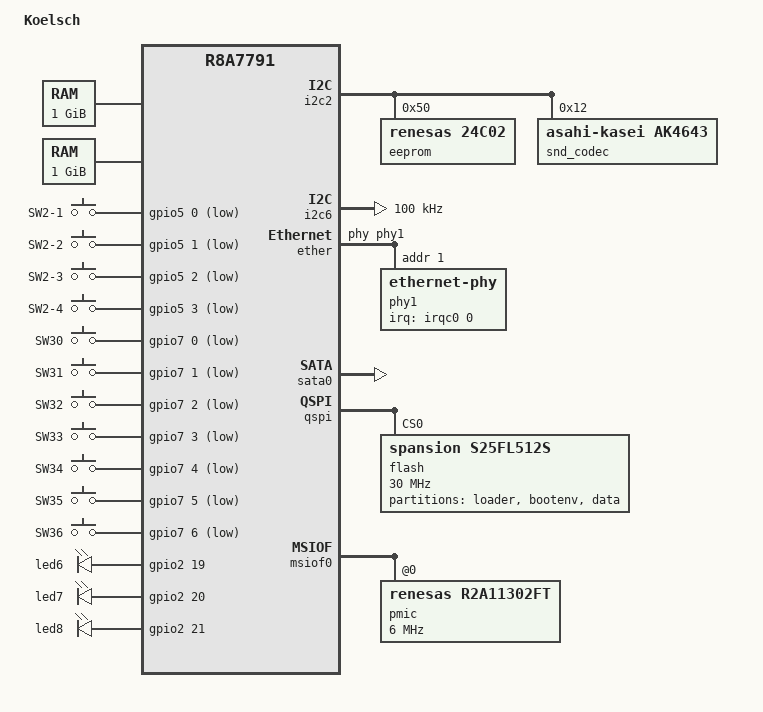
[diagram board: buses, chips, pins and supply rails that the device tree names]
/*
 * Device Tree Source for the Koelsch board
 *
 * Copyright (C) 2013 Renesas Electronics Corporation
 * Copyright (C) 2013-2014 Renesas Solutions Corp.
 * Copyright (C) 2014 Cogent Embedded, Inc.
 *
 * This file is licensed under the terms of the GNU General Public License
 * version 2.  This program is licensed "as is" without any warranty of any
 * kind, whether express or implied.
 */

/*
 * SSI-AK4643
 *
 * SW1: 1: AK4643
 *      2: CN22
 *      3: ADV7511
 *
 * this command is required when playback.
 *
 * # amixer set "LINEOUT Mixer DACL" on
 * # amixer set "Playback" 100
 */

/dts-v1/;
#include "r8a7791.dtsi"
#include <dt-bindings/gpio/gpio.h>
#include <dt-bindings/input/input.h>

/ {
	model = "Koelsch";
	compatible = "renesas,koelsch", "renesas,r8a7791";

	chosen {
		bootargs = "console=ttySC6,115200 ignore_loglevel rw root=/dev/nfs ip=dhcp";
	};

	memory@40000000 {
		device_type = "memory";
		reg = <0 0x40000000 0 0x40000000>;
	};

	memory@200000000 {
		device_type = "memory";
		reg = <2 0x00000000 0 0x40000000>;
	};

	lbsc {
		#address-cells = <1>;
		#size-cells = <1>;
	};

	gpio-keys {
		compatible = "gpio-keys";

		key-1 {
			gpios = <&gpio5 0 GPIO_ACTIVE_LOW>;
			linux,code = <KEY_1>;
			label = "SW2-1";
			gpio-key,wakeup;
			debounce-interval = <20>;
		};
		key-2 {
			gpios = <&gpio5 1 GPIO_ACTIVE_LOW>;
			linux,code = <KEY_2>;
			label = "SW2-2";
			gpio-key,wakeup;
			debounce-interval = <20>;
		};
		key-3 {
			gpios = <&gpio5 2 GPIO_ACTIVE_LOW>;
			linux,code = <KEY_3>;
			label = "SW2-3";
			gpio-key,wakeup;
			debounce-interval = <20>;
		};
		key-4 {
			gpios = <&gpio5 3 GPIO_ACTIVE_LOW>;
			linux,code = <KEY_4>;
			label = "SW2-4";
			gpio-key,wakeup;
			debounce-interval = <20>;
		};
		key-a {
			gpios = <&gpio7 0 GPIO_ACTIVE_LOW>;
			linux,code = <KEY_A>;
			label = "SW30";
			gpio-key,wakeup;
			debounce-interval = <20>;
		};
		key-b {
			gpios = <&gpio7 1 GPIO_ACTIVE_LOW>;
			linux,code = <KEY_B>;
			label = "SW31";
			gpio-key,wakeup;
			debounce-interval = <20>;
		};
		key-c {
			gpios = <&gpio7 2 GPIO_ACTIVE_LOW>;
			linux,code = <KEY_C>;
			label = "SW32";
			gpio-key,wakeup;
			debounce-interval = <20>;
		};
		key-d {
			gpios = <&gpio7 3 GPIO_ACTIVE_LOW>;
			linux,code = <KEY_D>;
			label = "SW33";
			gpio-key,wakeup;
			debounce-interval = <20>;
		};
		key-e {
			gpios = <&gpio7 4 GPIO_ACTIVE_LOW>;
			linux,code = <KEY_E>;
			label = "SW34";
			gpio-key,wakeup;
			debounce-interval = <20>;
		};
		key-f {
			gpios = <&gpio7 5 GPIO_ACTIVE_LOW>;
			linux,code = <KEY_F>;
			label = "SW35";
			gpio-key,wakeup;
			debounce-interval = <20>;
		};
		key-g {
			gpios = <&gpio7 6 GPIO_ACTIVE_LOW>;
			linux,code = <KEY_G>;
			label = "SW36";
			gpio-key,wakeup;
			debounce-interval = <20>;
		};
	};

	leds {
		compatible = "gpio-leds";
		led6 {
			gpios = <&gpio2 19 GPIO_ACTIVE_HIGH>;
		};
		led7 {
			gpios = <&gpio2 20 GPIO_ACTIVE_HIGH>;
		};
		led8 {
			gpios = <&gpio2 21 GPIO_ACTIVE_HIGH>;
		};
	};
};

&extal_clk {
	clock-frequency = <20000000>;
};

&i2c2 {
	pinctrl-0 = <&i2c2_pins>;
	pinctrl-names = "default";

	status = "okay";

	eeprom@50 {
		compatible = "renesas,24c02";
		reg = <0x50>;
		pagesize = <16>;
	};

	snd_codec: ak4643 {
		#sound-dai-cells = <0>;
		compatible = "asahi-kasei,ak4643";
		reg = <0x12>;
	};
};

&i2c6 {
	status = "okay";
	clock-frequency = <100000>;
};

&pfc {
	pinctrl-0 = <&du_pins &scif0_pins &scif1_pins &usb0_pins &usb1_pins
			&sound_pins
			&sound_clk_pins
			&sdhi0_pins &sdhi1_pins &sdhi2_pins>;
	pinctrl-names = "default";

	i2c2_pins: i2c2 {
		renesas,groups = "i2c2";
		renesas,function = "i2c2";
	};

	du_pins: du {
		renesas,groups = "du_rgb666", "du_sync", "du_clk_out_0";
		renesas,function = "du";
	};

	scif0_pins: serial0 {
		renesas,groups = "scif0_data_d";
		renesas,function = "scif0";
	};

	scif1_pins: serial1 {
		renesas,groups = "scif1_data_d";
		renesas,function = "scif1";
	};

	ether_pins: ether {
		renesas,groups = "eth_link", "eth_mdio", "eth_rmii";
		renesas,function = "eth";
	};

	phy1_pins: phy1 {
		renesas,groups = "intc_irq0";
		renesas,function = "intc";
	};

	sdhi0_pins: sd0 {
		renesas,groups = "sdhi0_data4", "sdhi0_ctrl";
		renesas,function = "sdhi0";
	};

	sdhi1_pins: sd1 {
		renesas,groups = "sdhi1_data4", "sdhi1_ctrl";
		renesas,function = "sdhi1";
	};

	sdhi2_pins: sd2 {
		renesas,groups = "sdhi2_data4", "sdhi2_ctrl";
		renesas,function = "sdhi2";
	};

	qspi_pins: spi0 {
		renesas,groups = "qspi_ctrl", "qspi_data4";
		renesas,function = "qspi";
	};

	msiof0_pins: spi1 {
		renesas,groups = "msiof0_clk", "msiof0_sync", "msiof0_rx",
				 "msiof0_tx";
		renesas,function = "msiof0";
	};

	usb0_pins: usb0 {
		renesas,groups = "usb0";
		renesas,function = "usb0";
	};

	usb1_pins: usb1 {
		renesas,groups = "usb1";
		renesas,function = "usb1";
	};

	sound_pins: sound {
		renesas,groups = "ssi0129_ctrl", "ssi0_data", "ssi1_data";
		renesas,function = "ssi";
	};
	sound_clk_pins: sound_clk {
		renesas,groups = "audio_clk_a";
		renesas,function = "audio_clk";
	};
};

&ether {
	pinctrl-0 = <&ether_pins &phy1_pins>;
	pinctrl-names = "default";

	phy-handle = <&phy1>;
	renesas,ether-link-active-low;
	status = "ok";

	phy1: ethernet-phy@1 {
		reg = <1>;
		interrupt-parent = <&irqc0>;
		interrupts = <0 IRQ_TYPE_LEVEL_LOW>;
		micrel,led-mode = <1>;
	};
};

&sata0 {
	status = "okay";
};

&qspi {
	pinctrl-0 = <&qspi_pins>;
	pinctrl-names = "default";

	status = "okay";

	flash: flash@0 {
		#address-cells = <1>;
		#size-cells = <1>;
		compatible = "spansion,s25fl512s";
		reg = <0>;
		spi-max-frequency = <30000000>;
		spi-tx-bus-width = <4>;
		spi-rx-bus-width = <4>;
		m25p,fast-read;

		partition@0 {
			label = "loader";
			reg = <0x00000000 0x00080000>;
			read-only;
		};
		partition@80000 {
			label = "bootenv";
			reg = <0x00080000 0x00080000>;
			read-only;
		};
		partition@100000 {
			label = "data";
			reg = <0x00100000 0x03f00000>;
		};
	};
};

&msiof0 {
	pinctrl-0 = <&msiof0_pins>;
	pinctrl-names = "default";

	status = "okay";

	pmic: pmic@0 {
		compatible = "renesas,r2a11302ft";
		reg = <0>;
		spi-max-frequency = <6000000>;
		spi-cpol;
		spi-cpha;
	};
};
